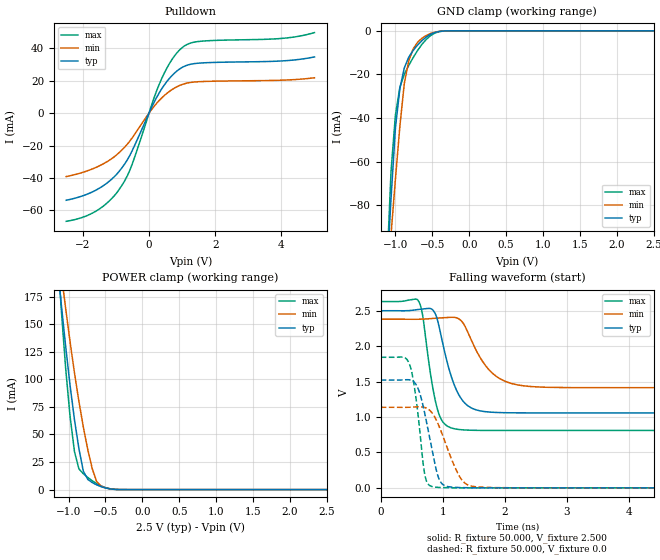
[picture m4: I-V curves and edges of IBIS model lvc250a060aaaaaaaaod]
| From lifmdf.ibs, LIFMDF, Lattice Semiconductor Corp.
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|   Model lvc250a060aaaaaaaaod
[Model] lvc250a060aaaaaaaaod
Model_type I/O_open_drain
Polarity   Non-Inverting
Enable   Active-Low
Vinl =  0.700V
Vinh =  1.700V
Vmeas =  1.250V
Cref =  0.0F
Rref =  1.000M
Vref =  0.0V
C_comp   5.000pF   4.000pF   5.500pF
[Temperature Range]   25.000   0.125k   -40.000
[Voltage Range]   2.500V   2.380V   2.630V
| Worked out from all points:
|   slope of the pulldown table from 0 to 0.375 V, typ, clamps not added: 25.5 ohm
|   GND clamp passes 1 mA (typ) near -0.48 V on its own axis
|   POWER clamp passes 1 mA (typ) near -0.47 V on its own axis
|   falling waveform, R_fixture 50.000, V_fixture 2.500: 20-80 % time 282ps typ, 406ps min, 192ps max; typ from 2.5 V to 1.06 V
|   falling waveform, R_fixture 50.000, V_fixture 0.0: 20-80 % time 215ps typ, 310ps min, 147ps max; typ from 1.52 V to 0 V
[Pulldown]
|Voltage   I(typ)   I(min)   I(max)
-2.5V     -53.73mA   -39.13mA   -66.73mA
-1.54V    -46.8mA    -32.9mA    -59.68mA
-1.14V    -40.97mA   -28.24mA   -52.95mA
-820mV    -33.79mA   -22.77mA   -44.63mA
-500mV    -22.83mA   -15.02mA   -31.03mA
140mV     6.15mA     3.852mA    8.723mA
380mV     14.88mA    9.328mA    21.16mA
700mV     23.33mA    14.63mA    33.3mA
1.02V     28.45mA    17.84mA    40.76mA
1.5V      30.88mA    19.43mA    44.27mA
3.98V     32.22mA    20.35mA    46.11mA
5V        34.72mA    21.86mA    49.77mA
[GND_clamp]
|Voltage   I(typ)   I(min)   I(max)
-2.5V     -1.11A     -830.4mA   -1.508A
-1.12V    -113.2mA   -120.2mA   -111.9mA
-1.06V    -76.91mA   -93.41mA   -64.42mA
-1V       -44.35mA   -67.81mA   -38.46mA
-940mV    -26.44mA   -43.73mA   -25.84mA
-880mV    -17mA      -24.08mA   -19.92mA
-820mV    -12.07mA   -13.83mA   -15.88mA
-760mV    -8.998mA   -8.257mA   -12.27mA
-580mV    -2.762mA   -2.111mA   -3.825mA
-460mV    -702.7uA   -570.8uA   -955.8uA
-340mV    -67.3uA    -66.5uA    -79.08uA
2.5V      0A         0A         0A
[POWER_clamp]
|Voltage   I(typ)   I(min)   I(max)
-2.5V     1.335A     1.134A     2.299A
-1.16V    209.6mA    229.7mA    226.6mA
-1.1V     168.7mA    196.5mA    164.4mA
-1.04V    130.1mA    164.5mA    110.3mA
-980mV    94.59mA    134.1mA    66.45mA
-920mV    63.27mA    105.8mA    34.35mA
-860mV    37.18mA    79.96mA    18.78mA
-800mV    16.66mA    56.66mA    14.36mA
-680mV    6.381mA    19.15mA    8.023mA
-560mV    2.685mA    3.173mA    3.362mA
-380mV    223.7uA    310.4uA    250.2uA
2.5V      0A         0A         0A
[Ramp]
| variable   typ   min   max
dV/dt_r   0.913/0.261n   0.682/0.413n   1.106/0.185n
dV/dt_f   0.865/0.289n   0.580/0.412n   1.092/0.198n
R_load = 50.000
[Falling Waveform]
R_fixture= 50.000
V_fixture= 2.500
V_fixture_min= 2.380
V_fixture_max= 2.630
|time   V(typ)   V(min)   V(max)
0s        2.5V       2.38V      2.63V
617ps     2.518V     2.38V      2.623V
678ps     2.524V     2.382V     2.421V
817ps     2.525V     2.39V      1.526V
917ps     2.36V      2.396V     1.099V
1.187ns   1.448V     2.406V     834.2mV
1.407ns   1.156V     2.188V     814.7mV
1.778ns   1.068V     1.636V     810.5mV
2.288ns   1.058V     1.442V     810.2mV
10ns      1.058V     1.414V     810.2mV
[Falling Waveform]
R_fixture= 50.000
V_fixture= 0.0
V_fixture_min= 0.0
V_fixture_max= 0.0
|time   V(typ)   V(min)   V(max)
0s        1.521V     1.137V     1.843V
461ps     1.525V     1.138V     1.751V
558ps     1.472V     1.142V     1.331V
710ps     1.047V     1.134V     188mV
848ps     447.8mV    1.031V     14.46mV
924ps     161.6mV    901.5mV    7.035mV
1ns       47.53mV    734.4mV    3.745mV
1.288ns   4.064mV    134.4mV    356.9uV
1.528ns   933.9uV    15.81mV    50.04uV
10ns      0V         0V         0V
